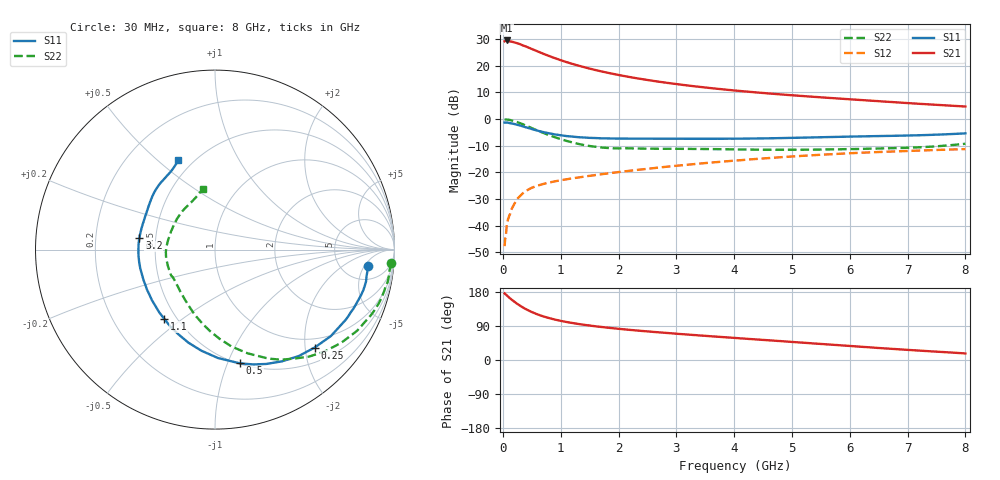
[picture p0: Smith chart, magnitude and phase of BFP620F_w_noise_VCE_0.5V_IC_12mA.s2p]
! Infineon Technologies  Discrete & RF Semiconductors
! BFP620F
! VCE =  0.5 V,  IC =  12 mA
! Common Emitter S-Parameters:  Dec 2014
# GHz  S  MA  R  50
!  f  S11  S21  S12  S22
! GHz  MAG  ANG  MAG  ANG  MAG  ANG  MAG  ANG
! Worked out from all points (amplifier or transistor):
!   95 points, 30 MHz to 8 GHz, reference 50 ohm
!   highest |S21| = 29.5 dB at 70 MHz (marker M1)
!   |S21| within 3 dB of that: start of sweep to 478.3 MHz
!   unconditionally stable (mu >= 1): 3.587 GHz to end of sweep
!   at 300 MHz: K = 0.18, MSG = 28.5 dB, |S12| = -28.8 dB
!   at 3.3 GHz: K = 0.99, MSG = 14.6 dB, |S12| = -16.9 dB
!   at 8 GHz: K = 1.09, MAG = 6.2 dB, |S12| = -11.3 dB
!   lowest NFmin = 0.64 dB at 450 MHz
!   S11 on the Smith chart (normalised r, x): 30 MHz: 9, -6; 250 MHz: 0.79, -2.20; 500 MHz: 0.51, -1.11; 1.1 GHz: 0.43, -0.43; 3.2 GHz: 0.40, +0.06; 8 GHz: 0.42, +0.59
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0.03  0.8573 -6.3  28.78 175.8  0.0041 85.4  0.9822 -4.4
0.05  0.8572 -10.1  29.6 172.8  0.006 74.7  0.9787 -7.6
0.07  0.8585 -13.5  29.87 170.1  0.011 87.8  0.9787 -10.6
0.12  0.8384 -23.1  28.68 163.2  0.0159 78.7  0.9605 -18.2
0.15  0.8264 -28.3  28.43 159.5  0.0203 76.8  0.943 -22.7
0.25  0.7785 -44.5  26.46 148.0  0.0318 68.7  0.8744 -36.4
0.3  0.7547 -51.8  25.37 143.1  0.0361 65.7  0.8346 -42.8
0.4  0.698 -65.9  22.99 134.0  0.0446 60.1  0.7508 -54.0
0.5  0.6486 -77.7  20.67 126.6  0.0512 56.2  0.6762 -63.9
0.6  0.6044 -88.4  18.63 120.3  0.0561 52.9  0.6061 -72.5
0.7  0.5683 -97.7  16.8 115.0  0.0604 51.1  0.5478 -80.3
0.8  0.5394 -105.9  15.23 110.6  0.0641 49.5  0.4973 -87.1
0.9  0.5143 -113.3  13.89 106.7  0.0676 48.4  0.4549 -93.5
1.1  0.4786 -126.1  11.73 100.3  0.0738 47.2  0.3887 -105.3
1.4  0.4505 -141.3  9.448 93.0  0.0827 46.5  0.3254 -120.9
2  0.4293 -162.9  6.723 82.4  0.101 46.3  0.2806 -146.6
2.7  0.4269 -179.3  5.021 73.0  0.1228 45.0  0.2763 -164.5
3.2  0.4258 171.4  4.258 67.1  0.139 43.5  0.2752 -173.5
4.1  0.4282 157.5  3.364 57.2  0.1684 39.7  0.2681 172.7
5.4  0.4528 141.9  2.602 43.4  0.2103 32.0  0.2668 150.4
6.7  0.4828 127.0  2.093 29.7  0.2446 22.8  0.283 127.4
8  0.5381 112.4  1.718 17.3  0.2725 13.7  0.3433 101.5
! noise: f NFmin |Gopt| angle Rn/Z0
0.45  0.64  0.22  8  0.21
0.9  0.71  0.2  19  0.18
1.5  0.76  0.19  21  0.13
1.8  0.79  0.19  23  0.11
1.9  0.8  0.14  38  0.14
2.4  0.84  0.12  53  0.12
3.5  0.93  0.11  76  0.12
5.5  1.1  0.1  193  0.09
6  1.14  0.1  221  0.14
